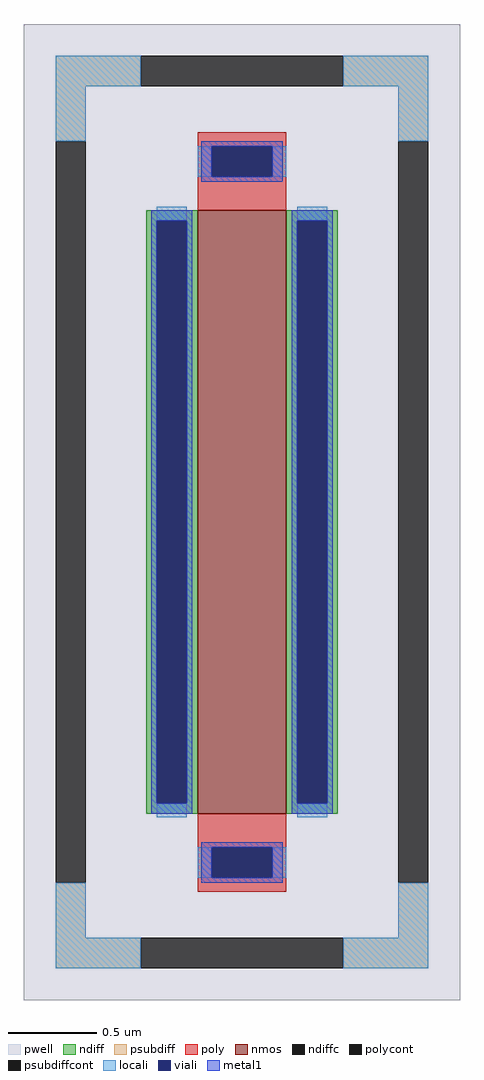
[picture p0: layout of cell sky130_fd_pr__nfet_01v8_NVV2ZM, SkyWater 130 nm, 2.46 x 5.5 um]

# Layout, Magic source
magic
tech sky130A
<< pwell >>
rect -123 -275 123 275
<< nmos >>
rect -25 -170 25 170
<< ndiff >>
rect -54 164 -25 170
rect -54 -164 -48 164
rect -31 -164 -25 164
rect -54 -170 -25 -164
rect 25 164 54 170
rect 25 -164 31 164
rect 48 -164 54 164
rect 25 -170 54 -164
<< ndiffc >>
rect -48 -164 -31 164
rect 31 -164 48 164
<< psubdiff >>
rect -105 240 -57 257
rect 57 240 105 257
rect -105 209 -88 240
rect 88 209 105 240
rect -105 -240 -88 -209
rect 88 -240 105 -209
rect -105 -257 -57 -240
rect 57 -257 105 -240
<< psubdiffcont >>
rect -57 240 57 257
rect -105 -209 -88 209
rect 88 -209 105 209
rect -57 -257 57 -240
<< poly >>
rect -25 206 25 214
rect -25 189 -17 206
rect 17 189 25 206
rect -25 170 25 189
rect -25 -189 25 -170
rect -25 -206 -17 -189
rect 17 -206 25 -189
rect -25 -214 25 -206
<< polycont >>
rect -17 189 17 206
rect -17 -206 17 -189
<< locali >>
rect -105 240 -57 257
rect 57 240 105 257
rect -105 209 -88 240
rect 88 209 105 240
rect -25 189 -17 206
rect 17 189 25 206
rect -48 164 -31 172
rect -48 -172 -31 -164
rect 31 164 48 172
rect 31 -172 48 -164
rect -25 -206 -17 -189
rect 17 -206 25 -189
rect -105 -240 -88 -209
rect 88 -240 105 -209
rect -105 -257 -57 -240
rect 57 -257 105 -240
<< viali >>
rect -17 189 17 206
rect -48 -164 -31 164
rect 31 -164 48 164
rect -17 -206 17 -189
<< metal1 >>
rect -23 206 23 209
rect -23 189 -17 206
rect 17 189 23 206
rect -23 186 23 189
rect -51 164 -28 170
rect -51 -164 -48 164
rect -31 -164 -28 164
rect -51 -170 -28 -164
rect 28 164 51 170
rect 28 -164 31 164
rect 48 -164 51 164
rect 28 -170 51 -164
rect -23 -189 23 -186
rect -23 -206 -17 -189
rect 17 -206 23 -189
rect -23 -209 23 -206
<< properties >>
string FIXED_BBOX -96 -248 96 248
string gencell sky130_fd_pr__nfet_01v8
string library sky130
string parameters w 3.4 l 0.5 m 1 nf 1 diffcov 100 polycov 100 guard 1 glc 1 grc 1 gtc 1 gbc 1 tbcov 100 rlcov 100 topc 1 botc 1 poverlap 0 doverlap 1 lmin 0.15 wmin 0.42 class mosfet compatible {sky130_fd_pr__nfet_01v8 sky130_fd_pr__nfet_01v8_lvt  sky130_fd_bs_flash__special_sonosfet_star  sky130_fd_pr__nfet_g5v0d10v5 sky130_fd_pr__nfet_05v0_nvt  sky130_fd_pr__nfet_03v3_nvt} full_metal 1 viasrc 100 viadrn 100 viagate 100 viagb 0 viagr 0 viagl 0 viagt 0
<< end >>
